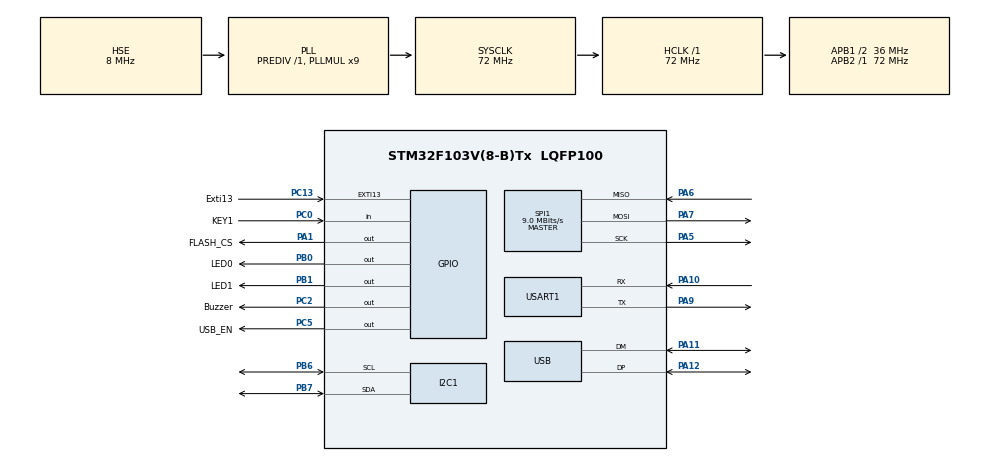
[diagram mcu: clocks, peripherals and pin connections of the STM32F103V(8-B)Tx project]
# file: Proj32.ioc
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FATFS._CODE_PAGE=936
FATFS._FS_TINY=1
FATFS._MAX_SS=4096
FATFS._MIN_SS=4096
FATFS._USE_LFN=0
FATFS._VOLUMES=2
Mcu.Family=STM32F1
Mcu.Name=STM32F103V(8-B)Tx
Mcu.Package=LQFP100
NVIC.EXTI15_10_IRQn=true\:0\:0\:false\:false\:true\:true\:true
NVIC.PriorityGroup=NVIC_PRIORITYGROUP_4
NVIC.USART1_IRQn=true\:0\:0\:false\:false\:true\:true\:true
NVIC.USB_LP_CAN1_RX0_IRQn=true\:0\:0\:false\:false\:true\:false\:true
OSC_IN.Mode=HSE-External-Oscillator
OSC_IN.Signal=RCC_OSC_IN
OSC_OUT.Mode=HSE-External-Oscillator
OSC_OUT.Signal=RCC_OSC_OUT
PA1.GPIO_Label=FLASH_CS
PA1.GPIO_ModeDefaultOutputPP=GPIO_MODE_OUTPUT_PP
PA1.GPIO_PuPd=GPIO_PULLUP
PA1.GPIO_Speed=GPIO_SPEED_FREQ_HIGH
PA1.PinState=GPIO_PIN_SET
PA1.Signal=GPIO_Output
PA10.Mode=Asynchronous
PA10.Signal=USART1_RX
PA11.Mode=Device
PA11.Signal=USB_DM
PA12.Mode=Device
PA12.Signal=USB_DP
PA13.Mode=Serial_Wire
PA13.Signal=SYS_JTMS-SWDIO
PA14.Mode=Serial_Wire
PA14.Signal=SYS_JTCK-SWCLK
PA5.Mode=Full_Duplex_Master
PA5.Signal=SPI1_SCK
PA6.Mode=Full_Duplex_Master
PA6.Signal=SPI1_MISO
PA7.Mode=Full_Duplex_Master
PA7.Signal=SPI1_MOSI
PA9.Mode=Asynchronous
PA9.Signal=USART1_TX
PB0.GPIO_Label=LED0
PB0.GPIO_ModeDefaultOutputPP=GPIO_MODE_OUTPUT_PP
PB0.GPIO_PuPd=GPIO_PULLUP
PB0.GPIO_Speed=GPIO_SPEED_FREQ_HIGH
PB0.PinState=GPIO_PIN_SET
PB0.Signal=GPIO_Output
PB1.GPIO_Label=LED1
PB1.GPIO_PuPd=GPIO_PULLDOWN
PB1.GPIO_Speed=GPIO_SPEED_FREQ_HIGH
PB1.PinState=GPIO_PIN_SET
PB1.Signal=GPIO_Output
PB6.Mode=I2C
PB6.Signal=I2C1_SCL
PB7.Mode=I2C
PB7.Signal=I2C1_SDA
PC0.GPIO_Label=KEY1
PC0.GPIO_PuPd=GPIO_PULLDOWN
PC0.Signal=GPIO_Input
PC13-TAMPER-RTC.GPIO_Label=Exti13
PC13-TAMPER-RTC.GPIO_ModeDefaultEXTI=GPIO_MODE_IT_RISING
PC13-TAMPER-RTC.GPIO_PuPd=GPIO_PULLDOWN
PC13-TAMPER-RTC.Signal=GPXTI13
PC2.GPIO_Label=Buzzer
PC2.GPIO_PuPd=GPIO_PULLDOWN
PC2.GPIO_Speed=GPIO_SPEED_FREQ_HIGH
PC2.PinState=GPIO_PIN_SET
PC2.Signal=GPIO_Output
PC5.GPIO_Label=USB_EN
PC5.GPIO_ModeDefaultOutputPP=GPIO_MODE_OUTPUT_PP
PC5.GPIO_PuPd=GPIO_PULLDOWN
PC5.GPIO_Speed=GPIO_SPEED_FREQ_HIGH
PC5.Signal=GPIO_Output
ProjectManager.HeapSize=0x1000
ProjectManager.StackSize=0x1000
ProjectManager.TargetToolchain=STM32CubeIDE
RCC.AHBFreq_Value=72000000
RCC.APB1CLKDivider=RCC_HCLK_DIV2
RCC.APB1Freq_Value=36000000
RCC.APB1TimFreq_Value=72000000
RCC.APB2Freq_Value=72000000
RCC.APB2TimFreq_Value=72000000
RCC.HCLKFreq_Value=72000000
RCC.PLLMUL=RCC_PLL_MUL9
RCC.PLLSourceVirtual=RCC_PLLSOURCE_HSE
RCC.SYSCLKFreq_VALUE=72000000
RCC.SYSCLKSource=RCC_SYSCLKSOURCE_PLLCLK
RCC.USBFreq_Value=48000000
RCC.USBPrescaler=RCC_USBCLKSOURCE_PLL_DIV1_5
SPI1.BaudRatePrescaler=SPI_BAUDRATEPRESCALER_8
SPI1.CalculateBaudRate=9.0 MBits/s
SPI1.Direction=SPI_DIRECTION_2LINES
SPI1.Mode=SPI_MODE_MASTER
SPI1.VirtualType=VM_MASTER
USART1.VirtualMode=VM_ASYNC
USB_DEVICE.CLASS_NAME_FS=MSC
USB_DEVICE.MSC_MEDIA_PACKET=1024
USB_DEVICE.VirtualMode=Msc
USB_DEVICE.VirtualModeFS=Msc_FS
VP_FATFS_VS_Generic.Mode=User_defined
VP_USB_DEVICE_VS_USB_DEVICE_MSC_FS.Mode=MSC_FS
board=custom

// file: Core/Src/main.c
/* USER CODE BEGIN Header */
/**
  ******************************************************************************
  * @file           : main.c
  * @brief          : Main program body
  ******************************************************************************
  * @attention
  *
  * Copyright (c) 2021 STMicroelectronics.
  * All rights reserved.
  *
  * This software is licensed under terms that can be found in the LICENSE file
  * in the root directory of this software component.
  * If no LICENSE file comes with this software, it is provided AS-IS.
  *
  ******************************************************************************
  */
/* USER CODE END Header */
#include "main.h"
#include "fatfs.h"
#include "usb_device.h"

/* USER CODE BEGIN Includes */
#include "stdio.h"
#include "bsp_spi_flash.h"
/* USER CODE END Includes */

/* USER CODE BEGIN PTD */
uint8_t rx_buff[100];  //接收缓存
uint8_t rx_done = 0; //接收完成标志
uint8_t rx_cnt = 0;//接收数据长度
//IIC全局变量
#define ADDR_WR_AT24CXX 0xA0 //写器件地址
#define ADDR_RD_AT24CXX 0xA1 //读器件地址
#define BuffSize 256
uint8_t Wr_buff[BuffSize],Rd_buff[BuffSize];//读写数据buff
//USB全局变量
u_char SET_USB_EN_FLAG = 0;
/* USER CODE END PTD */

/* USER CODE BEGIN PD */
void EEPROM_IIC_Test(void);
void SPI_FLASH_Test(void);
void FATFS_FLASH_Test(void);
/* USER CODE END PD */

I2C_HandleTypeDef hi2c1;

extern SPI_HandleTypeDef hspi1;

UART_HandleTypeDef huart1;

void SystemClock_Config(void);
static void MX_GPIO_Init(void);
static void MX_USART1_UART_Init(void);
static void MX_I2C1_Init(void);
static void MX_SPI1_Init(void);

int main(void)
{

  /* MCU Configuration--------------------------------------------------------*/

  /* Reset of all peripherals, Initializes the Flash interface and the Systick. */
  HAL_Init();

  /* Configure the system clock */
  SystemClock_Config();

  /* Initialize all configured peripherals */
  MX_GPIO_Init();
  MX_USART1_UART_Init();
  MX_I2C1_Init();
  MX_SPI1_Init();
  MX_FATFS_Init();
  MX_USB_DEVICE_Init();
  /* USER CODE BEGIN 2 */
  //EEPROM测试
  EEPROM_IIC_Test();
  //SPI_FLASH_Test();
  FATFS_FLASH_Test();
  /* USER CODE END 2 */

  /* Infinite loop */
  /* USER CODE BEGIN WHILE */
  while (1)
  {
      if(rx_done == 1)//判读是否接收完成
      {
          rx_done = 0;//清除接收标志
          //数据处理，打印接收长度、接收的数据
          printf("length of rx data: %d!\r\n",rx_cnt);
          for(int i = 0;i<rx_cnt;i++) printf("%c",rx_buff[i]);
          printf("\r\n");

          rx_cnt =0;//清除接收长度
      }

      if(SET_USB_EN_FLAG == 1)
      {
          SET_USB_EN_FLAG = 0;
          HAL_GPIO_WritePin(USB_EN_GPIO_Port,USB_EN_Pin,SET);
          HAL_Delay(1000);
          HAL_GPIO_WritePin(USB_EN_GPIO_Port,USB_EN_Pin,RESET);
          printf("Reset USB!\r\n");

      }
    /* USER CODE END WHILE */

  }
}

void SystemClock_Config(void)
{
  RCC_OscInitTypeDef RCC_OscInitStruct = {0};
  RCC_ClkInitTypeDef RCC_ClkInitStruct = {0};
  RCC_PeriphCLKInitTypeDef PeriphClkInit = {0};

  /** Initializes the RCC Oscillators according to the specified parameters
  * in the RCC_OscInitTypeDef structure.
  */
  RCC_OscInitStruct.OscillatorType = RCC_OSCILLATORTYPE_HSE;
  RCC_OscInitStruct.HSEState = RCC_HSE_ON;
  RCC_OscInitStruct.HSEPredivValue = RCC_HSE_PREDIV_DIV1;
  RCC_OscInitStruct.HSIState = RCC_HSI_ON;
  RCC_OscInitStruct.PLL.PLLState = RCC_PLL_ON;
  RCC_OscInitStruct.PLL.PLLSource = RCC_PLLSOURCE_HSE;
  RCC_OscInitStruct.PLL.PLLMUL = RCC_PLL_MUL9;
  if (HAL_RCC_OscConfig(&RCC_OscInitStruct) != HAL_OK)
  {
    Error_Handler();
  }
  /** Initializes the CPU, AHB and APB buses clocks
  */
  RCC_ClkInitStruct.ClockType = RCC_CLOCKTYPE_HCLK|RCC_CLOCKTYPE_SYSCLK
                              |RCC_CLOCKTYPE_PCLK1|RCC_CLOCKTYPE_PCLK2;
  RCC_ClkInitStruct.SYSCLKSource = RCC_SYSCLKSOURCE_PLLCLK;
  RCC_ClkInitStruct.AHBCLKDivider = RCC_SYSCLK_DIV1;
  RCC_ClkInitStruct.APB1CLKDivider = RCC_HCLK_DIV2;
  RCC_ClkInitStruct.APB2CLKDivider = RCC_HCLK_DIV1;

  if (HAL_RCC_ClockConfig(&RCC_ClkInitStruct, FLASH_LATENCY_2) != HAL_OK)
  {
    Error_Handler();
  }
  PeriphClkInit.PeriphClockSelection = RCC_PERIPHCLK_USB;
  PeriphClkInit.UsbClockSelection = RCC_USBCLKSOURCE_PLL_DIV1_5;
  if (HAL_RCCEx_PeriphCLKConfig(&PeriphClkInit) != HAL_OK)
  {
    Error_Handler();
  }
}

static void MX_I2C1_Init(void)
{

  hi2c1.Instance = I2C1;
  hi2c1.Init.ClockSpeed = 100000;
  hi2c1.Init.DutyCycle = I2C_DUTYCYCLE_2;
  hi2c1.Init.OwnAddress1 = 0;
  hi2c1.Init.AddressingMode = I2C_ADDRESSINGMODE_7BIT;
  hi2c1.Init.DualAddressMode = I2C_DUALADDRESS_DISABLE;
  hi2c1.Init.OwnAddress2 = 0;
  hi2c1.Init.GeneralCallMode = I2C_GENERALCALL_DISABLE;
  hi2c1.Init.NoStretchMode = I2C_NOSTRETCH_DISABLE;
  if (HAL_I2C_Init(&hi2c1) != HAL_OK)
  {
    Error_Handler();
  }

}

static void MX_SPI1_Init(void)
{

  /* SPI1 parameter configuration*/
  hspi1.Instance = SPI1;
  hspi1.Init.Mode = SPI_MODE_MASTER;
  hspi1.Init.Direction = SPI_DIRECTION_2LINES;
  hspi1.Init.DataSize = SPI_DATASIZE_8BIT;
  hspi1.Init.CLKPolarity = SPI_POLARITY_LOW;
  hspi1.Init.CLKPhase = SPI_PHASE_1EDGE;
  hspi1.Init.NSS = SPI_NSS_SOFT;
  hspi1.Init.BaudRatePrescaler = SPI_BAUDRATEPRESCALER_8;
  hspi1.Init.FirstBit = SPI_FIRSTBIT_MSB;
  hspi1.Init.TIMode = SPI_TIMODE_DISABLE;
  hspi1.Init.CRCCalculation = SPI_CRCCALCULATION_DISABLE;
  hspi1.Init.CRCPolynomial = 10;
  if (HAL_SPI_Init(&hspi1) != HAL_OK)
  {
    Error_Handler();
  }

}

static void MX_USART1_UART_Init(void)
{

  huart1.Instance = USART1;
  huart1.Init.BaudRate = 115200;
  huart1.Init.WordLength = UART_WORDLENGTH_8B;
  huart1.Init.StopBits = UART_STOPBITS_1;
  huart1.Init.Parity = UART_PARITY_NONE;
  huart1.Init.Mode = UART_MODE_TX_RX;
  huart1.Init.HwFlowCtl = UART_HWCONTROL_NONE;
  huart1.Init.OverSampling = UART_OVERSAMPLING_16;
  if (HAL_UART_Init(&huart1) != HAL_OK)
  {
    Error_Handler();
  }
  /* USER CODE BEGIN USART1_Init 2 */
  //开启接收中断，空闲中断
  __HAL_UART_ENABLE_IT(&huart1,UART_IT_IDLE|UART_IT_RXNE);
  /* USER CODE END USART1_Init 2 */

}

static void MX_GPIO_Init(void)
{
  GPIO_InitTypeDef GPIO_InitStruct = {0};

  /* GPIO Ports Clock Enable */
  __HAL_RCC_GPIOC_CLK_ENABLE();
  __HAL_RCC_GPIOA_CLK_ENABLE();
  __HAL_RCC_GPIOB_CLK_ENABLE();

  /*Configure GPIO pin Output Level */
  HAL_GPIO_WritePin(Buzzer_GPIO_Port, Buzzer_Pin, GPIO_PIN_SET);

  /*Configure GPIO pin Output Level */
  HAL_GPIO_WritePin(FLASH_CS_GPIO_Port, FLASH_CS_Pin, GPIO_PIN_SET);

  /*Configure GPIO pin Output Level */
  HAL_GPIO_WritePin(USB_EN_GPIO_Port, USB_EN_Pin, GPIO_PIN_RESET);

  /*Configure GPIO pin Output Level */
  HAL_GPIO_WritePin(GPIOB, LED0_Pin|LED1_Pin, GPIO_PIN_SET);

  /*Configure GPIO pin : Exti13_Pin */
  GPIO_InitStruct.Pin = Exti13_Pin;
  GPIO_InitStruct.Mode = GPIO_MODE_IT_RISING;
  GPIO_InitStruct.Pull = GPIO_PULLDOWN;
  HAL_GPIO_Init(Exti13_GPIO_Port, &GPIO_InitStruct);

  /*Configure GPIO pin : KEY1_Pin */
  GPIO_InitStruct.Pin = KEY1_Pin;
  GPIO_InitStruct.Mode = GPIO_MODE_INPUT;
  GPIO_InitStruct.Pull = GPIO_PULLDOWN;
  HAL_GPIO_Init(KEY1_GPIO_Port, &GPIO_InitStruct);

  /*Configure GPIO pins : Buzzer_Pin USB_EN_Pin */
  GPIO_InitStruct.Pin = Buzzer_Pin|USB_EN_Pin;
  GPIO_InitStruct.Mode = GPIO_MODE_OUTPUT_PP;
  GPIO_InitStruct.Pull = GPIO_PULLDOWN;
  GPIO_InitStruct.Speed = GPIO_SPEED_FREQ_HIGH;
  HAL_GPIO_Init(GPIOC, &GPIO_InitStruct);

  /*Configure GPIO pin : FLASH_CS_Pin */
  GPIO_InitStruct.Pin = FLASH_CS_Pin;
  GPIO_InitStruct.Mode = GPIO_MODE_OUTPUT_PP;
  GPIO_InitStruct.Pull = GPIO_PULLUP;
  GPIO_InitStruct.Speed = GPIO_SPEED_FREQ_HIGH;
  HAL_GPIO_Init(FLASH_CS_GPIO_Port, &GPIO_InitStruct);

  /*Configure GPIO pin : LED0_Pin */
  GPIO_InitStruct.Pin = LED0_Pin;
  GPIO_InitStruct.Mode = GPIO_MODE_OUTPUT_PP;
  GPIO_InitStruct.Pull = GPIO_PULLUP;
  GPIO_InitStruct.Speed = GPIO_SPEED_FREQ_HIGH;
  HAL_GPIO_Init(LED0_GPIO_Port, &GPIO_InitStruct);

  /*Configure GPIO pin : LED1_Pin */
  GPIO_InitStruct.Pin = LED1_Pin;
  GPIO_InitStruct.Mode = GPIO_MODE_OUTPUT_PP;
  GPIO_InitStruct.Pull = GPIO_PULLDOWN;
  GPIO_InitStruct.Speed = GPIO_SPEED_FREQ_HIGH;
  HAL_GPIO_Init(LED1_GPIO_Port, &GPIO_InitStruct);

  /* EXTI interrupt init*/
  HAL_NVIC_SetPriority(EXTI15_10_IRQn, 0, 0);
  HAL_NVIC_EnableIRQ(EXTI15_10_IRQn);

}

/* USER CODE BEGIN 4 */
//FATFS测试
void FATFS_FLASH_Test(void)
{
    FATFS fs;//文件系统对象
    static FIL fnew;//文件对象
    BYTE FATFS_Wr_Buff[128]  ="hello,嵌入式知识开源社区RYMCU欢迎你！\r\n";// 写缓冲区
    BYTE FATFS_Rd_Buff[128]  ={0};// 读缓冲区
    UINT fnum;//成功读写数量
    FRESULT res;//返回值

    printf("\r\n\r\n------------------FLASH FATFS文件系统测试------------------\r\n\r\n");
    res = f_mount(&fs,"0:",1);
    if(res == FR_NO_FILESYSTEM)
    {
        printf("FLASH上没有建立文件系统，开始格式化！\r\n");
        res = f_mkfs("0:",0,0);//格式化
        if(res == FR_OK)
        {
            printf("FLASH文件系统格式化成功！\r\n");
            //格式化成功后先取消，再重新挂载！
            res = f_mount(NULL,"0:",1);
            printf("取消挂载成功！： %d\r\n",res);
            res = f_mount(&fs,"0:",1);
            printf("重新挂载成功！： %d\r\n",res);
        }
        else
        {
            printf("FLASH文件系统格式化失败！\r\n");
        }
    }
    printf("\r\n\r\n-------------------FATFS系统测试：写文件-------------------\r\n");

    //打开文件，文件不存在则创建并打开
    res = f_open(&fnew,"RY.txt",FA_CREATE_ALWAYS | FA_WRITE);
    if(res == FR_OK) printf("打开或创建RY.txt成功！\r\n");
    else             printf("打开或创建RY.txt失败！\r\n");
    //写测试
    res = f_write(&fnew,FATFS_Wr_Buff, sizeof(FATFS_Wr_Buff),&fnum);
    if(res == FR_OK) printf("往RY.txt写入数据：\r\n%s",FATFS_Wr_Buff);
    else             printf("往RY.txt写入数据失败,code: %d!\r\n",res);
    //完成写操作后，关闭文件
    f_close(&fnew);
    printf("\r\n-------------------FATFS系统测试：读文件-------------------\r\n\r\n");
    //打开文件，读方式打开已创建的文件
    res = f_open(&fnew,"RY.txt",FA_OPEN_EXISTING | FA_READ);
    if(res != FR_OK){printf("打开文件失败！\r\n");return;}
    //读测试
    res = f_read(&fnew,FATFS_Rd_Buff, sizeof(FATFS_Rd_Buff),&fnum);
    if(res != FR_OK){printf("读取文件失败！\r\n");return;}
    printf("读取文件数据：\r\n%s\r\n",FATFS_Rd_Buff);
    f_close(&fnew);//读取完毕，关闭文件。
    //RY1
    //打开文件，读方式打开已创建的文件
    res = f_open(&fnew,"RY1.txt",FA_OPEN_EXISTING | FA_READ);
    if(res != FR_OK){printf("打开文件失败！\r\n");return;}
    //读测试
    res = f_read(&fnew,FATFS_Rd_Buff, sizeof(FATFS_Rd_Buff),&fnum);
    if(res != FR_OK){printf("读取文件失败！\r\n");return;}
    printf("读取文件数据：\r\n%s\r\n",FATFS_Rd_Buff);
    f_close(&fnew);//读取完毕，关闭文件。
}
//SPI FLASH测试
#define  FLASHBUFFSIZE 64
void SPI_FLASH_Test(void)
{
    uint16_t FLASH_ID;
    uint8_t Flash_Wr_Buff[FLASHBUFFSIZE],Flash_Rd_Buff[FLASHBUFFSIZE];
    printf("SPI总线通信实验，读写8M外部FLASH W25Q64!\r\n",FLASH_ID);
    FLASH_ID = W25QXX_ReadID();//读取W25Q64器件ID
    HAL_Delay(100);
    printf("the FLASH Device ID is 0x%X!\r\n",FLASH_ID);
    //W25Q64 = 8MByte,地址范围：0x000000-0x7FFFFF
    //Sector：每4KB为一个Sector,8M/4K=2048个
    //Block：每64KB为一个Block,8M/64K=128个，每个Block包括16个Sector
    SPI_FLASH_SectorErase(0x00);//擦除第一个Sector
    for (int i = 0; i < FLASHBUFFSIZE; ++i) Flash_Wr_Buff[i] = i;
    SPI_FLASH_BufferWrite(Flash_Wr_Buff,0x00,FLASHBUFFSIZE);
    SPI_FLASH_BufferRead(Flash_Rd_Buff,0x00,FLASHBUFFSIZE);
    printf("Read data form W25Q64: \r\n");
    for(uint16_t i=0;i<FLASHBUFFSIZE;i++)
    {
        printf("0x%02x ",Flash_Rd_Buff[i]);
    }
    printf("\r\n");
}
//EEPROM测试
void EEPROM_IIC_Test(void)
{
    HAL_StatusTypeDef error;
    uint8_t length = 8 ;
    for(uint16_t i = 0;i<256;i++) Wr_buff[i] = i;
    //AT24Cxx地址00开始写入8Byte数据
    error = HAL_I2C_Mem_Write(&hi2c1,ADDR_WR_AT24CXX,0x00,I2C_MEMADD_SIZE_16BIT,Wr_buff,length,1000);
    if(error == HAL_OK) printf("eeprom write done!\r\n");
    else                printf("eeprom write fail!\r\n");
    HAL_Delay(1000);
    //从地址0x00开始读8Byte数据，并打印。
    error = HAL_I2C_Mem_Read(&hi2c1,ADDR_RD_AT24CXX,0x00,I2C_MEMADD_SIZE_16BIT,Rd_buff,length,1000);
    if(error == HAL_OK)
    {
        printf("eeprom read done!\r\n");
        for(uint16_t i=0;i<length;i++)
        {
            printf("0x%02x ",Rd_buff[i]);
        }
        printf("\r\n");
    }
    else  printf("eeprom write fail!\r\n");
}

//重写GPIO中断回调函数
void HAL_GPIO_EXTI_Callback(uint16_t GPIO_Pin)
{
    //翻转LED0
    HAL_GPIO_TogglePin(LED0_GPIO_Port,LED0_Pin);
    SET_USB_EN_FLAG = 1;
    //打印中断处理信息
    printf("ExTi13 interrput!\r\n");
}

#ifdef __GNUC__
#define PUTCHAR_PROTOTYPE int __io_putchar(int ch)
#else
#define PUTCHAR_PROTOTYPE int fputc(int ch. FILE *f)
#endif /* __GNUC__ */

//重定向printf函数
PUTCHAR_PROTOTYPE
{
    HAL_UART_Transmit(&huart1,(uint8_t *)&ch,1,0xFFFF);//输出指向串口USART1
    return ch;
}
/* USER CODE END 4 */

void Error_Handler(void)
{
  __disable_irq();
  while (1)
  {
  }
}
